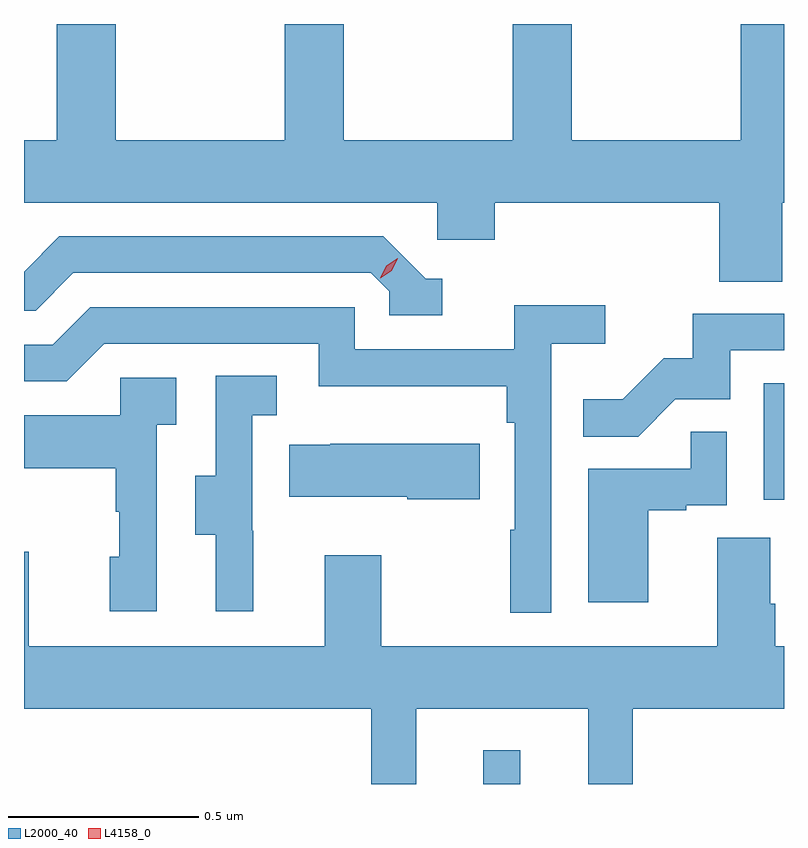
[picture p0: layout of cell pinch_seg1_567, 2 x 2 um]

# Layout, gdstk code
import gdstk
lib = gdstk.Library(unit=1e-6, precision=1e-09)
def R(c, l, rs):  # rectangles x0, y0, x1, y1
    for r in rs: c.add(gdstk.rectangle(r[:2], r[2:], *l))
def P(c, l, *ps):  # polygons
    for p in ps: c.add(gdstk.Polygon(p, *l))
L2000_40 = (2000, 40)
L4158_0 = (4158, 0)

pinch_seg1_567 = lib.new_cell('pinch_seg1_567')
R(pinch_seg1_567, L2000_40, [(1030.646,539.546,1030.743,539.635), (1031.384,540.294,1031.437,540.601)])
P(pinch_seg1_567, L2000_40, [(1031.432,541.076),(1031.437,541.076),(1031.437,541.546),(1031.323,541.546),(1031.323,541.24),(1030.878,541.24),(1030.878,541.546),(1030.723,541.546),(1030.723,541.24),(1030.278,541.24),(1030.278,541.546),(1030.123,541.546),(1030.123,541.24),(1029.678,541.24),(1029.678,541.546),(1029.523,541.546),(1029.523,541.24),(1029.437,541.24),(1029.437,541.076),(1030.524,541.076),(1030.524,540.978),(1030.676,540.978),(1030.676,541.076),(1031.267,541.076),(1031.267,540.868),(1031.432,540.868)],
  [(1030.537,540.876),(1030.494,540.876),(1030.383,540.987),(1029.53,540.987),(1029.437,540.894),(1029.437,540.792),(1029.468,540.792),(1029.567,540.891),(1030.35,540.891),(1030.398,540.843),(1030.398,540.78),(1030.537,540.78)],
  [(1030.824,540.704),(1030.966,540.704),(1030.966,540.806),(1030.727,540.806),(1030.727,540.69),(1030.308,540.69),(1030.308,540.801),(1029.611,540.801),(1029.512,540.702),(1029.437,540.702),(1029.437,540.606),(1029.549,540.606),(1029.648,540.705),(1030.212,540.705),(1030.212,540.593),(1030.708,540.593),(1030.708,540.497),(1030.728,540.497),(1030.728,540.215),(1030.716,540.215),(1030.716,539.997),(1030.824,539.997)],
  [(1031.151,540.558),(1031.295,540.558),(1031.295,540.687),(1031.437,540.687),(1031.437,540.783),(1031.197,540.783),(1031.197,540.666),(1031.12,540.666),(1031.013,540.559),(1030.909,540.559),(1030.909,540.46),(1031.053,540.46)],
  [(1030.04,540.213),(1030.038,540.213),(1030.038,540.517),(1030.102,540.517),(1030.102,540.62),(1029.942,540.62),(1029.942,540.357),(1029.887,540.357),(1029.887,540.202),(1029.941,540.202),(1029.941,540),(1030.04,540)],
  [(1029.786,540.491),(1029.838,540.491),(1029.838,540.615),(1029.69,540.615),(1029.69,540.517),(1029.437,540.517),(1029.437,540.377),(1029.678,540.377),(1029.678,540.263),(1029.688,540.263),(1029.688,540.144),(1029.662,540.144),(1029.662,540),(1029.786,540)],
  [(1031.08,540.267),(1031.18,540.267),(1031.18,540.279),(1031.286,540.279),(1031.286,540.473),(1031.191,540.473),(1031.191,540.375),(1030.922,540.375),(1030.922,540.024),(1031.08,540.024)],
  [(1030.636,540.442),(1030.243,540.442),(1030.243,540.439),(1030.135,540.439),(1030.135,540.302),(1030.445,540.302),(1030.445,540.295),(1030.636,540.295)],
  [(1030.469,539.744),(1030.922,539.744),(1030.922,539.546),(1031.039,539.546),(1031.039,539.744),(1031.437,539.744),(1031.437,539.908),(1031.414,539.908),(1031.414,540.02),(1031.401,540.02),(1031.401,540.194),(1031.261,540.194),(1031.261,539.908),(1030.377,539.908),(1030.377,540.148),(1030.229,540.148),(1030.229,539.908),(1029.449,539.908),(1029.449,540.157),(1029.437,540.157),(1029.437,539.744),(1030.351,539.744),(1030.351,539.546),(1030.469,539.546)])
P(pinch_seg1_567, L4158_0, [(1030.374,540.877),(1030.374,540.877),(1030.39,540.91),(1030.42,540.93),(1030.421,540.93),(1030.421,540.93),(1030.405,540.897),(1030.374,540.877)])

lib.write_gds('pinch_seg1_567.gds')
